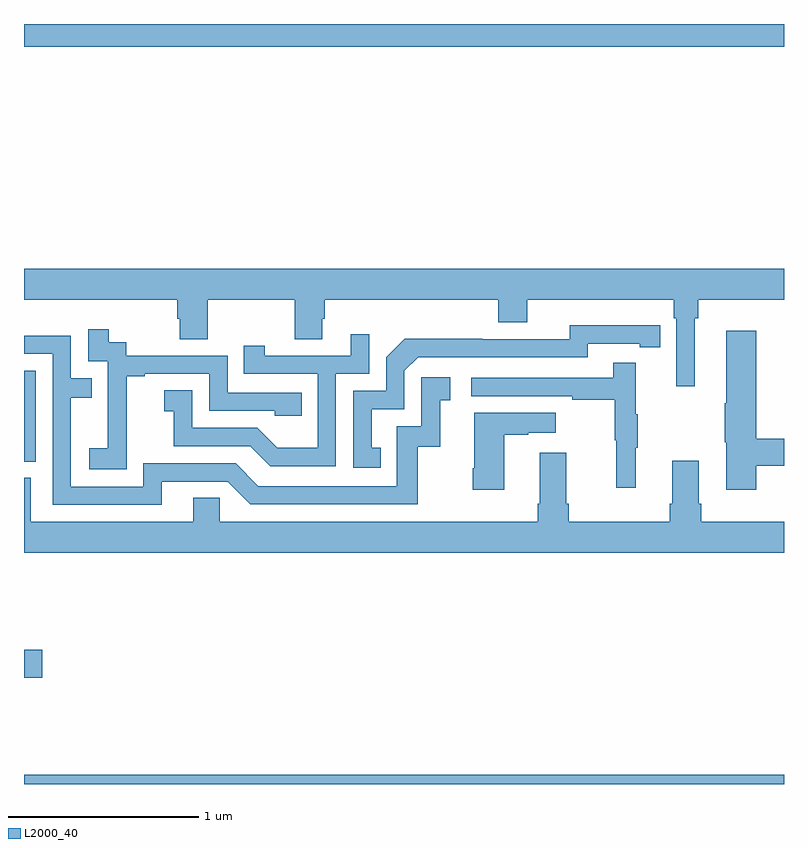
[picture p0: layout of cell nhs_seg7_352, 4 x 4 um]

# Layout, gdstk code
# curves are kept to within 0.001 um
import gdstk
lib = gdstk.Library(unit=1e-6, precision=1e-09)
def R(c, l, rs):  # rectangles x0, y0, x1, y1
    for r in rs: c.add(gdstk.rectangle(r[:2], r[2:], *l))
def P(c, l, *ps):  # polygons
    for p in ps: c.add(gdstk.Polygon(p, *l))
L2000_40 = (2000, 40)

nhs_seg7_352 = lib.new_cell('nhs_seg7_352')
R(nhs_seg7_352, L2000_40, [(137,1066,141,1066.048), (137,1066.559,137.095,1066.706), (137,1067.697,137.061,1068.174), (137,1069.88,141,1070)])
P(nhs_seg7_352, L2000_40, [(137,1068.548),(137.807,1068.548),(137.807,1068.45),(137.819,1068.45),(137.819,1068.34),(137.967,1068.34),(137.967,1068.548),(138.424,1068.548),(138.424,1068.34),(138.571,1068.34),(138.571,1068.45),(138.584,1068.45),(138.584,1068.548),(139.496,1068.548),(139.496,1068.431),(139.648,1068.431),(139.648,1068.548),(140.42,1068.548),(140.42,1068.452),(140.433,1068.452),(140.433,1068.093),(140.53,1068.093),(140.53,1068.452),(140.549,1068.452),(140.549,1068.548),(141,1068.548),(141,1068.712),(137,1068.712)],
  [(138.878,1067.769),(138.829,1067.769),(138.829,1067.973),(139.002,1067.973),(139.002,1068.174),(139.074,1068.246),(139.968,1068.246),(139.968,1068.318),(140.24,1068.318),(140.24,1068.298),(140.348,1068.298),(140.348,1068.414),(139.872,1068.415),(139.872,1068.342),(139.412,1068.342),(139.412,1068.344),(139.004,1068.344),(138.906,1068.246),(138.906,1068.069),(138.732,1068.069),(138.732,1067.664),(138.878,1067.664)],
  [(137.541,1067.863),(137.54,1067.863),(137.54,1068.147),(137.635,1068.147),(137.635,1068.159),(137.976,1068.159),(137.976,1067.964),(138.321,1067.964),(138.321,1067.937),(138.461,1067.937),(138.461,1068.06),(138.072,1068.06),(138.072,1068.255),(137.538,1068.255),(137.538,1068.324),(137.446,1068.324),(137.446,1068.394),(137.337,1068.394),(137.337,1068.225),(137.442,1068.225),(137.442,1067.996),(137.441,1067.996),(137.441,1067.767),(137.343,1067.767),(137.343,1067.657),(137.541,1067.657)],
  [(140.855,1067.674),(141,1067.674),(141,1067.816),(140.855,1067.816),(140.855,1068.385),(140.696,1068.385),(140.696,1068.005),(140.689,1068.005),(140.689,1067.799),(140.696,1067.799),(140.696,1067.55),(140.855,1067.55)],
  [(138.642,1068.159),(138.816,1068.159),(138.816,1068.367),(138.719,1068.367),(138.719,1068.255),(138.268,1068.255),(138.268,1068.307),(138.157,1068.307),(138.157,1068.159),(138.546,1068.159),(138.546,1067.77),(138.332,1067.77),(138.228,1067.874),(137.886,1067.874),(137.886,1068.073),(137.739,1068.073),(137.739,1067.963),(137.788,1067.963),(137.788,1067.778),(138.191,1067.778),(138.296,1067.673),(138.642,1067.673)],
  [(137.725,1067.592),(138.072,1067.592),(138.192,1067.472),(139.072,1067.472),(139.072,1067.775),(139.19,1067.775),(139.19,1068.021),(139.243,1068.021),(139.243,1068.142),(139.092,1068.142),(139.092,1067.883),(138.963,1067.883),(138.963,1067.568),(138.234,1067.568),(138.114,1067.688),(137.628,1067.688),(137.628,1067.565),(137.247,1067.565),(137.247,1068.034),(137.357,1068.034),(137.357,1068.135),(137.247,1068.135),(137.247,1068.36),(137,1068.36),(137,1068.264),(137.151,1068.264),(137.151,1067.469),(137.725,1067.469)],
  [(140.219,1067.771),(140.23,1067.771),(140.23,1067.945),(140.219,1067.945),(140.219,1068.217),(140.101,1068.217),(140.101,1068.138),(139.353,1068.138),(139.353,1068.042),(139.885,1068.042),(139.885,1068.022),(140.109,1068.022),(140.109,1067.808),(140.116,1067.808),(140.116,1067.559),(140.219,1067.559)],
  [(139.528,1067.839),(139.655,1067.839),(139.655,1067.849),(139.798,1067.849),(139.798,1067.953),(139.37,1067.953),(139.37,1067.662),(139.363,1067.662),(139.363,1067.55),(139.528,1067.55)],
  [(141,1067.38),(140.564,1067.38),(140.564,1067.476),(140.551,1067.476),(140.551,1067.701),(140.411,1067.701),(140.411,1067.476),(140.399,1067.476),(140.399,1067.38),(139.868,1067.38),(139.868,1067.476),(139.855,1067.476),(139.855,1067.743),(139.715,1067.743),(139.715,1067.476),(139.703,1067.476),(139.703,1067.38),(138.03,1067.38),(138.03,1067.507),(137.891,1067.507),(137.891,1067.38),(137.035,1067.38),(137.035,1067.612),(137,1067.612),(137,1067.216),(141,1067.216)])

lib.write_gds('nhs_seg7_352.gds')
